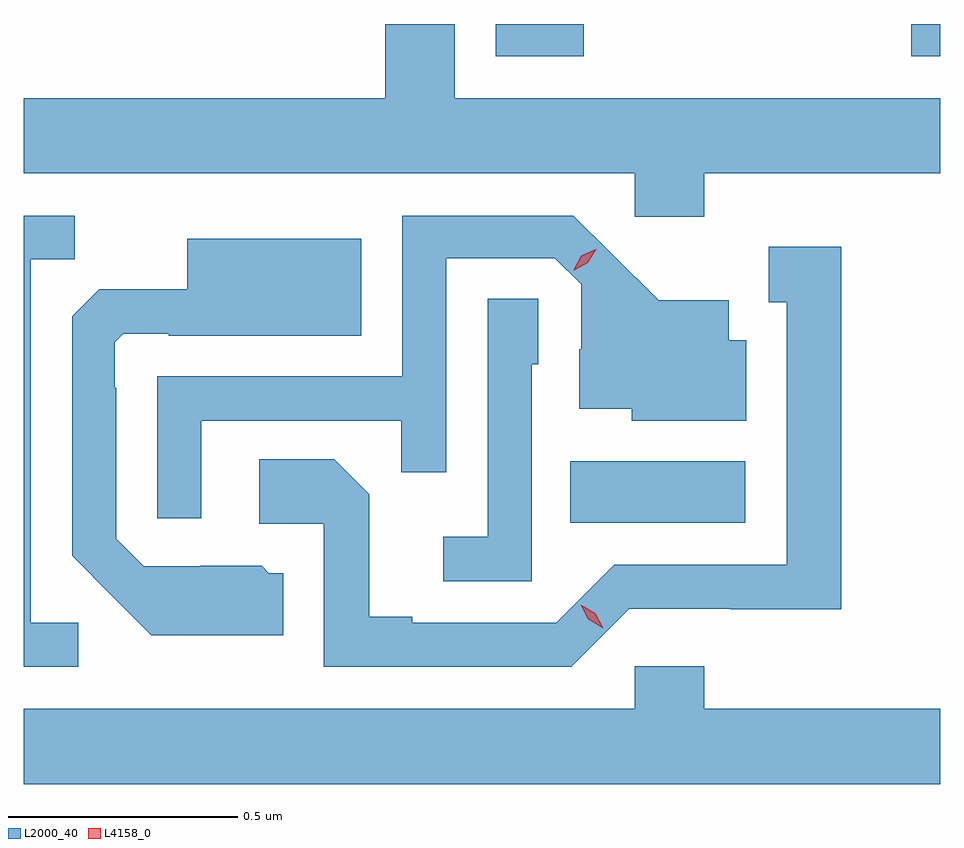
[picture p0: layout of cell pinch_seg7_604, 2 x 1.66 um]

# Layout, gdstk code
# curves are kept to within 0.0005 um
import gdstk
lib = gdstk.Library(unit=1e-6, precision=1e-09)
def R(c, l, rs):  # rectangles x0, y0, x1, y1
    for r in rs: c.add(gdstk.rectangle(r[:2], r[2:], *l))
def P(c, l, *ps):  # polygons
    for p in ps: c.add(gdstk.Polygon(p, *l))
L2000_40 = (2000, 40)
L4158_0 = (4158, 0)

pinch_seg7_604 = lib.new_cell('pinch_seg7_604')
R(pinch_seg7_604, L2000_40, [(161.122,1041.146,161.503,1041.28), (160.959,1042.164,161.151,1042.234), (161.865,1042.164,161.929,1042.234)])
P(pinch_seg7_604, L2000_40, [(161.414,1041.908),(161.929,1041.908),(161.929,1042.072),(160.87,1042.072),(160.87,1042.234),(160.718,1042.234),(160.718,1042.072),(159.929,1042.072),(159.929,1041.908),(161.262,1041.908),(161.262,1041.813),(161.414,1041.813)],
  [(160.048,1040.928),(159.945,1040.928),(159.945,1041.721),(160.041,1041.721),(160.041,1041.816),(159.929,1041.816),(159.929,1040.832),(160.048,1040.832)],
  [(160.317,1041.369),(160.753,1041.369),(160.753,1041.256),(160.851,1041.256),(160.851,1041.723),(161.088,1041.723),(161.145,1041.666),(161.145,1041.524),(161.141,1041.524),(161.141,1041.395),(161.256,1041.395),(161.256,1041.368),(161.506,1041.368),(161.506,1041.544),(161.467,1041.544),(161.467,1041.631),(161.315,1041.631),(161.128,1041.816),(160.755,1041.816),(160.755,1041.465),(160.221,1041.465),(160.221,1041.156),(160.317,1041.156)],
  [(160.495,1041.036),(160.464,1041.036),(160.448,1041.052),(160.314,1041.052),(160.314,1041.051),(160.191,1041.051),(160.131,1041.111),(160.131,1041.44),(160.128,1041.44),(160.128,1041.54),(160.146,1041.558),(160.246,1041.558),(160.246,1041.554),(160.666,1041.554),(160.666,1041.766),(160.286,1041.766),(160.286,1041.655),(160.094,1041.655),(160.035,1041.596),(160.035,1041.074),(160.207,1040.9),(160.495,1040.9)],
  [(161.25,1040.958),(161.472,1040.958),(161.472,1040.957),(161.713,1040.957),(161.713,1041.748),(161.555,1041.748),(161.555,1041.627),(161.594,1041.627),(161.594,1041.054),(161.217,1041.054),(161.091,1040.928),(160.777,1040.928),(160.777,1040.941),(160.683,1040.941),(160.683,1041.208),(160.607,1041.284),(160.443,1041.284),(160.443,1041.144),(160.584,1041.144),(160.584,1040.832),(161.124,1040.832)],
  [(161.037,1041.492),(161.052,1041.492),(161.052,1041.635),(160.941,1041.635),(160.941,1041.115),(160.845,1041.115),(160.845,1041.018),(161.037,1041.018)],
  [(161.929,1040.74),(161.414,1040.74),(161.414,1040.833),(161.262,1040.833),(161.262,1040.74),(159.929,1040.74),(159.929,1040.576),(161.929,1040.576)])
P(pinch_seg7_604, L4158_0, [(161.129,1041.697),(161.129,1041.698),(161.146,1041.728),(161.177,1041.743),(161.178,1041.743),(161.178,1041.743),(161.16,1041.713),(161.13,1041.697)],
  [(161.193,1040.916),(161.161,1040.935),(161.144,1040.967),(161.144,1040.967),(161.144,1040.967),(161.176,1040.948),(161.193,1040.916),(161.193,1040.916)])

lib.write_gds('pinch_seg7_604.gds')
